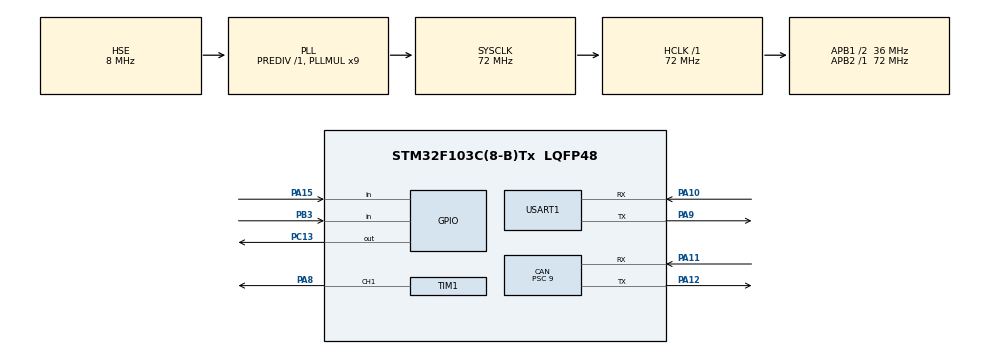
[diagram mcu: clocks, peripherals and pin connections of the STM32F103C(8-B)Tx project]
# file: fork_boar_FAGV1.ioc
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CAN.ABOM=ENABLE
CAN.BS1=CAN_BS1_13TQ
CAN.BS2=CAN_BS2_2TQ
CAN.CalculateBaudRate=250000
CAN.CalculateTimeBit=4000
CAN.CalculateTimeQuantum=250.0
CAN.NART=ENABLE
CAN.Prescaler=9
Dma.Request0=TIM1_CH1
Dma.TIM1_CH1.0.Direction=DMA_MEMORY_TO_PERIPH
Dma.TIM1_CH1.0.Instance=DMA1_Channel2
Dma.TIM1_CH1.0.MemDataAlignment=DMA_MDATAALIGN_HALFWORD
Dma.TIM1_CH1.0.MemInc=DMA_MINC_ENABLE
Dma.TIM1_CH1.0.Mode=DMA_CIRCULAR
Dma.TIM1_CH1.0.PeriphDataAlignment=DMA_PDATAALIGN_HALFWORD
Dma.TIM1_CH1.0.PeriphInc=DMA_PINC_DISABLE
Dma.TIM1_CH1.0.Priority=DMA_PRIORITY_LOW
Mcu.Family=STM32F1
Mcu.Name=STM32F103C(8-B)Tx
Mcu.Package=LQFP48
NVIC.DMA1_Channel2_IRQn=true\:0\:0\:false\:false\:true\:false\:true\:true
NVIC.PriorityGroup=NVIC_PRIORITYGROUP_4
NVIC.USB_LP_CAN1_RX0_IRQn=true\:0\:0\:false\:false\:true\:true\:true\:true
PA10.Mode=Asynchronous
PA10.Signal=USART1_RX
PA11.Mode=CAN_Activate
PA11.Signal=CAN_RX
PA12.Mode=CAN_Activate
PA12.Signal=CAN_TX
PA15.Signal=GPIO_Input
PA8.Signal=S_TIM1_CH1
PA9.Mode=Asynchronous
PA9.Signal=USART1_TX
PB3.Signal=GPIO_Input
PC13-TAMPER-RTC.Signal=GPIO_Output
PD0-OSC_IN.Mode=HSE-External-Oscillator
PD0-OSC_IN.Signal=RCC_OSC_IN
PD1-OSC_OUT.Mode=HSE-External-Oscillator
PD1-OSC_OUT.Signal=RCC_OSC_OUT
ProjectManager.HeapSize=0x200
ProjectManager.StackSize=0x400
ProjectManager.TargetToolchain=STM32CubeIDE
RCC.AHBFreq_Value=72000000
RCC.APB1CLKDivider=RCC_HCLK_DIV2
RCC.APB1Freq_Value=36000000
RCC.APB1TimFreq_Value=72000000
RCC.APB2Freq_Value=72000000
RCC.APB2TimFreq_Value=72000000
RCC.HCLKFreq_Value=72000000
RCC.PLLMUL=RCC_PLL_MUL9
RCC.PLLSourceVirtual=RCC_PLLSOURCE_HSE
RCC.SYSCLKFreq_VALUE=72000000
RCC.SYSCLKSource=RCC_SYSCLKSOURCE_PLLCLK
RCC.USBFreq_Value=72000000
SH.S_TIM1_CH1.0=TIM1_CH1,PWM Generation1 CH1
TIM1.Channel-PWM\ Generation1\ CH1=TIM_CHANNEL_1
TIM1.Period=90-1
USART1.VirtualMode=VM_ASYNC
VP_SYS_VS_ND.Mode=No_Debug
board=custom

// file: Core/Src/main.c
/* USER CODE BEGIN Header */
/**
 ******************************************************************************
 * @file           : main.c
 * @brief          : Main program body
 ******************************************************************************
 * @attention
 *
 * Copyright (c) 2026 STMicroelectronics.
 * All rights reserved.
 *
 * This software is licensed under terms that can be found in the LICENSE file
 * in the root directory of this software component.
 * If no LICENSE file comes with this software, it is provided AS-IS.
 *
 ******************************************************************************
 */
/* USER CODE END Header */
#include "main.h"
#include "can.h"
#include "dma.h"
#include "tim.h"
#include "usart.h"
#include "gpio.h"

/* USER CODE BEGIN Includes */
#include "ws2812.h"
#include "docking_pallet.h"
#include "can_handle.h"
/* USER CODE END Includes */

/* USER CODE BEGIN PV */

limit_switch ls;
ws2812_handleTypeDef led_indicator;
HAL_StatusTypeDef can_init_status;  /* hasil can_handle_init, cek di debugger jika CAN diam */

/* USER CODE END PV */

void SystemClock_Config(void);

int main(void)
{

	/* MCU Configuration--------------------------------------------------------*/

	/* Reset of all peripherals, Initializes the Flash interface and the Systick. */
	HAL_Init();

	/* USER CODE BEGIN Init */

	ls.lim_port [0] = GPIOB;
	ls.lim_port [1] = GPIOA;
	ls.lim_pin [0] = GPIO_PIN_3;
	ls.lim_pin [1] = GPIO_PIN_15;

	/* USER CODE END Init */

	/* Configure the system clock */
	SystemClock_Config();

	/* Initialize all configured peripherals */
	MX_GPIO_Init();
	MX_DMA_Init();
	MX_CAN_Init();
	MX_USART1_UART_Init();
	MX_TIM1_Init();
	/* USER CODE BEGIN 2 */

	ws2812_init(&led_indicator, &htim1, TIM_CHANNEL_1, 8);
	zeroLedValues(&led_indicator);

	HAL_Delay(100);

	can_init_status = can_handle_init();

	while (1)
	{
		volatile uint32_t now;
		volatile uint32_t prev_now;
		now = HAL_GetTick();
		if (now - prev_now >= 1000)
		{
			dock_transmit.tick++;
			HAL_GPIO_TogglePin(GPIOC, GPIO_PIN_13);
			prev_now = now;
		}

		can_handle_send_telemetry(&dock_transmit);

	}

	/* USER CODE END 2 */

	/* Infinite loop */
	/* USER CODE BEGIN WHILE */
	while (1)
	{
		//		volatile uint32_t now;
		//		volatile uint32_t prev_now;
		ls.docking_state = limit_sw_routine(&ls);
		can_handle_get_command(&dock_receive);
		uint8_t cmd_timeout = can_handle_cmd_vel_timed_out(&dock_receive); /* 1 jika >200 ms tanpa CMD_VEL */
//		now = HAL_GetTick();
		if (cmd_timeout >=100)
		{
//			now = 0;
			dock_receive.mode = 0;
			for (int i = 0; i < led_indicator.leds; i++)
			{
				setLedValues(&led_indicator, i,30, 0, 0);
			}

		}

		if (dock_receive.mode == 0b0001) // procces
		{
			if (ls.docking_state == 0b0000)
			{
				for (int i = 0; i < led_indicator.leds; i++)
				{
					setLedValues(&led_indicator, i,10, 20, 0);
				}
			}
			else if (ls.docking_state == 0b0001 || ls.docking_state == 0b0010)
			{
				for (int i = 0; i < led_indicator.leds; i++)
				{
					setLedValues(&led_indicator, i,30, 0, 0);
				}
			}

			if (ls.docking_state == 0b0011)
			{
				for (int i = 0; i < led_indicator.leds; i++)
				{
					setLedValues(&led_indicator, i,0, 30, 0);
				}
			}
		}
		else if (dock_receive.mode == 0b0010) // process fail
		{
			if (ls.docking_state == 0b0001 || ls.docking_state == 0b0010)
			{
				for (int i = 0; i < led_indicator.leds; i++)
				{
					setLedValues(&led_indicator, i,30, 0, 0);
				}
			}
		}

		else if (dock_receive.mode == 0b0011) // process succes
		{
			if (ls.docking_state == 0b0001 || ls.docking_state == 0b0010)
			{
				for (int i = 0; i < led_indicator.leds; i++)
				{
					setLedValues(&led_indicator, i,0, 30, 0);
				}
			}
		}

		dock_transmit.height = 0.0f; //TODO
		dock_transmit.state = ls.docking_state;

//		if (now - prev_now >= 1000)
		{
			dock_transmit.tick++;
			HAL_GPIO_TogglePin(GPIOC, GPIO_PIN_13);
//			prev_now = now;
		}

		can_handle_send_telemetry(&dock_transmit);
		/* USER CODE END WHILE */

	}
}

void SystemClock_Config(void)
{
	RCC_OscInitTypeDef RCC_OscInitStruct = {0};
	RCC_ClkInitTypeDef RCC_ClkInitStruct = {0};

	/** Initializes the RCC Oscillators according to the specified parameters
	 * in the RCC_OscInitTypeDef structure.
	 */
	RCC_OscInitStruct.OscillatorType = RCC_OSCILLATORTYPE_HSE;
	RCC_OscInitStruct.HSEState = RCC_HSE_ON;
	RCC_OscInitStruct.HSEPredivValue = RCC_HSE_PREDIV_DIV1;
	RCC_OscInitStruct.HSIState = RCC_HSI_ON;
	RCC_OscInitStruct.PLL.PLLState = RCC_PLL_ON;
	RCC_OscInitStruct.PLL.PLLSource = RCC_PLLSOURCE_HSE;
	RCC_OscInitStruct.PLL.PLLMUL = RCC_PLL_MUL9;
	if (HAL_RCC_OscConfig(&RCC_OscInitStruct) != HAL_OK)
	{
		Error_Handler();
	}

	/** Initializes the CPU, AHB and APB buses clocks
	 */
	RCC_ClkInitStruct.ClockType = RCC_CLOCKTYPE_HCLK|RCC_CLOCKTYPE_SYSCLK
			|RCC_CLOCKTYPE_PCLK1|RCC_CLOCKTYPE_PCLK2;
	RCC_ClkInitStruct.SYSCLKSource = RCC_SYSCLKSOURCE_PLLCLK;
	RCC_ClkInitStruct.AHBCLKDivider = RCC_SYSCLK_DIV1;
	RCC_ClkInitStruct.APB1CLKDivider = RCC_HCLK_DIV2;
	RCC_ClkInitStruct.APB2CLKDivider = RCC_HCLK_DIV1;

	if (HAL_RCC_ClockConfig(&RCC_ClkInitStruct, FLASH_LATENCY_2) != HAL_OK)
	{
		Error_Handler();
	}
}

void Error_Handler(void)
{
	__disable_irq();
	while (1)
	{
	}
}
